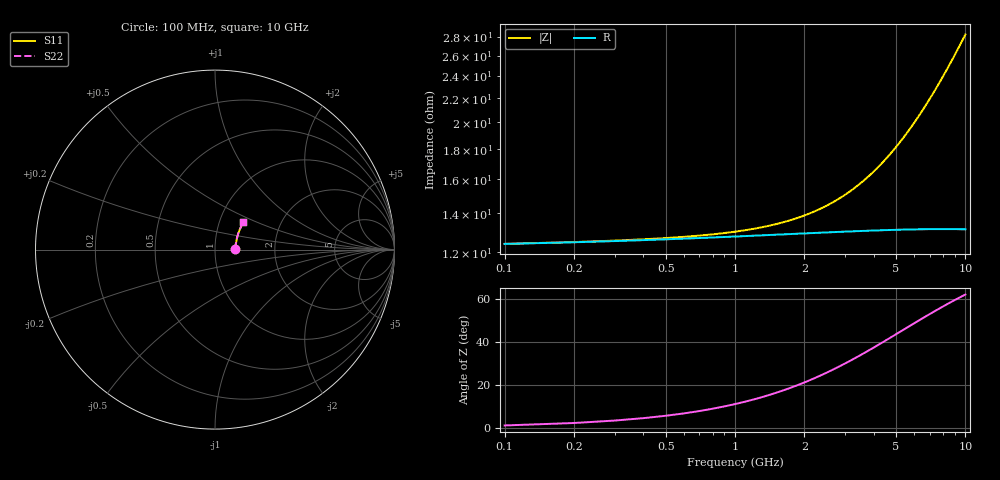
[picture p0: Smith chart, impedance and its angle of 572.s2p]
# Hz S RI R 50.00
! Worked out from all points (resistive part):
!   100 points, 100 MHz to 10 GHz, reference 50 ohm
!   read as one part in series: R = 12.4 ohm at 100 MHz
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1e8  0.1104 0.00164  0.8896 -0.00232  0.8896 -0.00232  0.1104 0.00164
2e8  0.111 0.00328  0.889 -0.00464  0.889 -0.00464  0.111 0.00328
3e8  0.1115 0.00492  0.8885 -0.00696  0.8885 -0.00696  0.1115 0.00492
6e8  0.1126 0.00981  0.8874 -0.0139  0.8874 -0.0139  0.1126 0.00981
1e9  0.1137 0.0163  0.8863 -0.0231  0.8863 -0.0231  0.1137 0.0163
1.3e9  0.1144 0.0212  0.8855 -0.03  0.8855 -0.03  0.1144 0.0212
1.6e9  0.1152 0.026  0.8847 -0.0369  0.8847 -0.0369  0.1152 0.026
1.8e9  0.1157 0.0292  0.8842 -0.0415  0.8842 -0.0415  0.1157 0.0292
2.2e9  0.1168 0.0357  0.8831 -0.0506  0.8831 -0.0506  0.1168 0.0357
2.6e9  0.1179 0.0421  0.8819 -0.0597  0.8819 -0.0597  0.1179 0.0421
3e9  0.1191 0.0484  0.8807 -0.0688  0.8807 -0.0688  0.1191 0.0484
3.4e9  0.1204 0.0548  0.8793 -0.0779  0.8793 -0.0779  0.1204 0.0548
3.7e9  0.1215 0.0595  0.8782 -0.0846  0.8782 -0.0846  0.1215 0.0595
4.1e9  0.123 0.0658  0.8766 -0.0937  0.8766 -0.0937  0.123 0.0658
4.6e9  0.125 0.0736  0.8745 -0.1049  0.8745 -0.1049  0.125 0.0736
5.1e9  0.1272 0.0813  0.8721 -0.116  0.8721 -0.116  0.1272 0.0813
5.9e9  0.1311 0.0936  0.868 -0.1337  0.868 -0.1337  0.1311 0.0936
6.7e9  0.1354 0.1056  0.8634 -0.1511  0.8634 -0.1511  0.1354 0.1056
7.6e9  0.1409 0.1188  0.8577 -0.1705  0.8577 -0.1705  0.1409 0.1188
8.4e9  0.1462 0.1303  0.8521 -0.1875  0.8521 -0.1875  0.1462 0.1303
9.2e9  0.1519 0.1416  0.846 -0.2042  0.846 -0.2042  0.1519 0.1416
1e10  0.158 0.1525  0.8395 -0.2206  0.8395 -0.2206  0.158 0.1525
